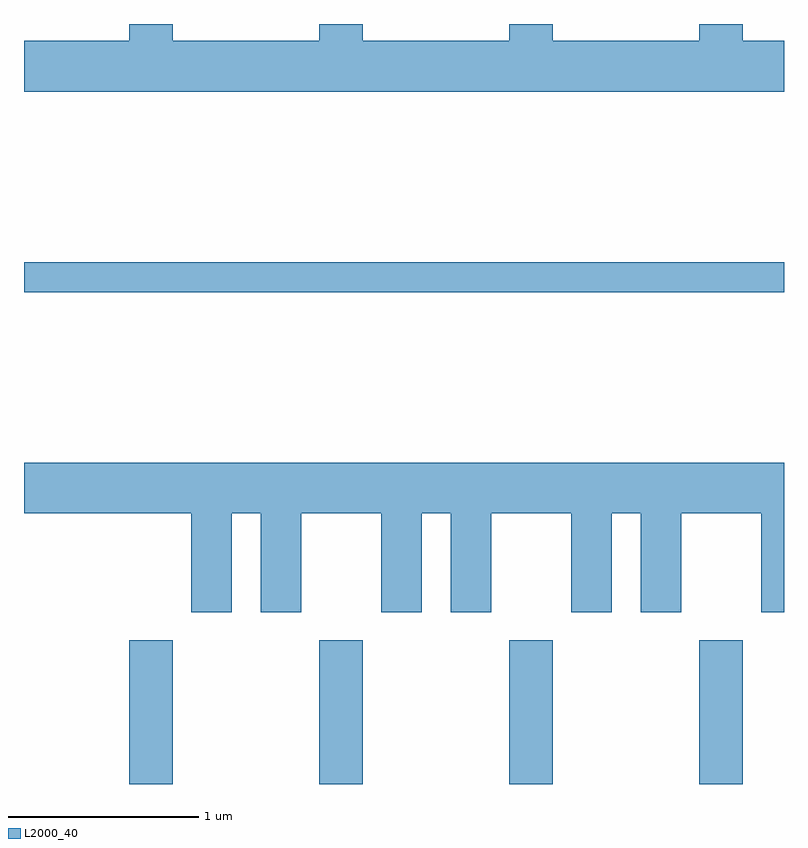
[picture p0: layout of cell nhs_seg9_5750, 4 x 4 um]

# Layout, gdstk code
import gdstk
lib = gdstk.Library(unit=1e-6, precision=1e-09)
def R(c, l, rs):  # rectangles x0, y0, x1, y1
    for r in rs: c.add(gdstk.rectangle(r[:2], r[2:], *l))
def A(c, l, x, y, w, h, nx, ny, dx, dy):  # array of equal rectangles
    R(c, l, [(x+i*dx, y+j*dy, x+i*dx+w, y+j*dy+h) for i in range(nx) for j in range(ny)])
def P(c, l, *ps):  # polygons
    for p in ps: c.add(gdstk.Polygon(p, *l))
L2000_40 = (2000, 40)

nhs_seg9_5750 = lib.new_cell('nhs_seg9_5750')
A(nhs_seg9_5750, L2000_40, 356.166, 1950.432, 0.228, 0.757, 4, 1, 1, 0)
R(nhs_seg9_5750, L2000_40, [(355.611,1953.021,359.611,1953.179)])
P(nhs_seg9_5750, L2000_40, [(359.611,1954.344),(359.394,1954.344),(359.394,1954.432),(359.166,1954.432),(359.166,1954.344),(358.394,1954.344),(358.394,1954.432),(358.166,1954.432),(358.166,1954.344),(357.394,1954.344),(357.394,1954.432),(357.166,1954.432),(357.166,1954.344),(356.394,1954.344),(356.394,1954.432),(356.166,1954.432),(356.166,1954.344),(355.611,1954.344),(355.611,1954.076),(359.611,1954.076)],
  [(355.611,1951.856),(356.491,1951.856),(356.491,1951.336),(356.704,1951.336),(356.704,1951.856),(356.856,1951.856),(356.856,1951.336),(357.069,1951.336),(357.069,1951.856),(357.491,1951.856),(357.491,1951.336),(357.704,1951.336),(357.704,1951.856),(357.856,1951.856),(357.856,1951.336),(358.069,1951.336),(358.069,1951.856),(358.491,1951.856),(358.491,1951.336),(358.704,1951.336),(358.704,1951.856),(358.856,1951.856),(358.856,1951.336),(359.069,1951.336),(359.069,1951.856),(359.491,1951.856),(359.491,1951.336),(359.611,1951.336),(359.611,1952.124),(355.611,1952.124)])

lib.write_gds('nhs_seg9_5750.gds')
